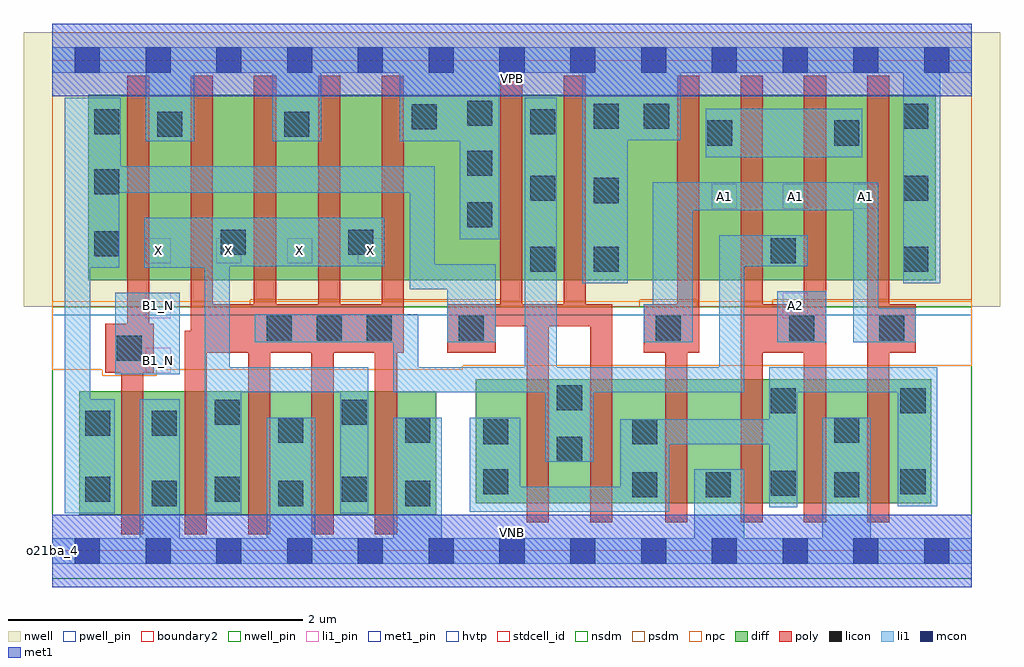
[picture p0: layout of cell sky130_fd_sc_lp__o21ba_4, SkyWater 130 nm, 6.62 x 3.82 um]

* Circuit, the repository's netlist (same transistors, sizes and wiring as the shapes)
* Copyright 2020 The SkyWater PDK Authors
*
* Licensed under the Apache License, Version 2.0 (the "License");
* you may not use this file except in compliance with the License.
* You may obtain a copy of the License at
*
*     https://www.apache.org/licenses/LICENSE-2.0
*
* Unless required by applicable law or agreed to in writing, software
* distributed under the License is distributed on an "AS IS" BASIS,
* WITHOUT WARRANTIES OR CONDITIONS OF ANY KIND, either express or implied.
* See the License for the specific language governing permissions and
* limitations under the License.
*
* SPDX-License-Identifier: Apache-2.0

.SUBCKT sky130_fd_sc_lp__o21ba_4 A1 A2 B1_N VGND VNB VPB VPWR X
*.PININFO A1:I A2:I B1_N:I VGND:I VNB:I VPB:I VPWR:I X:O
MMPA0 VPWR A1 sndA1 VPB sky130_fd_pr__pfet_01v8_hvt m=2 w=1.26U l=0.15U mult=1
+ sa=0.265 sb=0.265 sd=0.28 area=0.063 perim=1.14
MMPA1 sndA1 A2 y VPB sky130_fd_pr__pfet_01v8_hvt m=2 w=1.26U l=0.15U mult=1 sa=0.265
+ sb=0.265 sd=0.28 area=0.063 perim=1.14
MMPB0 VPWR B1 y VPB sky130_fd_pr__pfet_01v8_hvt m=2 w=1.26U l=0.15U mult=1 sa=0.265
+ sb=0.265 sd=0.28 area=0.063 perim=1.14
MMIPB1N B1 B1_N VPWR VPB sky130_fd_pr__pfet_01v8_hvt m=1 w=1.26U l=0.15U mult=1
+ sa=0.265 sb=0.265 sd=0.28 area=0.063 perim=1.14
MMIPX X y VPWR VPB sky130_fd_pr__pfet_01v8_hvt m=4 w=1.26U l=0.15U mult=1 sa=0.265
+ sb=0.265 sd=0.28 area=0.063 perim=1.14
MMNA0 pndA A1 VGND VNB sky130_fd_pr__nfet_01v8 m=2 w=0.84U l=0.15U mult=1 sa=0.265
+ sb=0.265 sd=0.28 area=0.063 perim=1.14
MMNA1 pndA A2 VGND VNB sky130_fd_pr__nfet_01v8 m=2 w=0.84U l=0.15U mult=1 sa=0.265
+ sb=0.265 sd=0.28 area=0.063 perim=1.14
MMNB0 y B1 pndA VNB sky130_fd_pr__nfet_01v8 m=2 w=0.84U l=0.15U mult=1 sa=0.265
+ sb=0.265 sd=0.28 area=0.063 perim=1.14
MMINB1N B1 B1_N VGND VNB sky130_fd_pr__nfet_01v8 m=1 w=0.84U l=0.15U mult=1 sa=0.265
+ sb=0.265 sd=0.28 area=0.063 perim=1.14
MMINX X y VGND VNB sky130_fd_pr__nfet_01v8 m=4 w=0.84U l=0.15U mult=1 sa=0.265
+ sb=0.265 sd=0.28 area=0.063 perim=1.14
.ENDS sky130_fd_sc_lp__o21ba_4

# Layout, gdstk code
import gdstk
lib = gdstk.Library(unit=1e-6, precision=1e-09)
def R(c, l, rs):  # rectangles x0, y0, x1, y1
    for r in rs: c.add(gdstk.rectangle(r[:2], r[2:], *l))
def A(c, l, x, y, w, h, nx, ny, dx, dy):  # array of equal rectangles
    R(c, l, [(x+i*dx, y+j*dy, x+i*dx+w, y+j*dy+h) for i in range(nx) for j in range(ny)])
def P(c, l, *ps):  # polygons
    for p in ps: c.add(gdstk.Polygon(p, *l))
nwell_pin = (64, 16)
nwell = (64, 20)
diff = (65, 20)
poly = (66, 20)
licon = (66, 44)
li1_pin = (67, 16)
li1 = (67, 20)
mcon = (67, 44)
met1_pin = (68, 16)
met1 = (68, 20)
hvtp = (78, 44)
stdcell_id = (81, 4)
nsdm = (93, 44)
psdm = (94, 20)
npc = (95, 20)
pwell_pin = (122, 16)
boundary2 = (236, 0)

sky130_fd_sc_lp__o21ba_4 = lib.new_cell('sky130_fd_sc_lp__o21ba_4')
R(sky130_fd_sc_lp__o21ba_4, nwell_pin, [(0,3.085,6.24,3.33)])
R(sky130_fd_sc_lp__o21ba_4, nwell, [(-0.19,1.655,6.43,3.52)])
R(sky130_fd_sc_lp__o21ba_4, diff, [(0.185,0.245,2.605,1.085), (2.875,0.325,5.965,1.165), (0.245,1.835,5.995,3.095)])
P(sky130_fd_sc_lp__o21ba_4, poly, [(0.69,1.54),(0.66,1.54),(0.66,3.225),(0.51,3.225),(0.51,1.54),(0.36,1.54),(0.36,1.21),(0.47,1.21),(0.47,0.115),(0.62,0.115),(0.62,1.21),(0.69,1.21)],
  [(2.385,3.225),(2.235,3.225),(2.235,1.675),(1.955,1.675),(1.955,3.225),(1.805,3.225),(1.805,1.675),(1.52,1.675),(1.52,3.225),(1.37,3.225),(1.37,1.675),(1.09,1.675),(1.09,3.225),(0.94,3.225),(0.94,1.495),(0.9,1.495),(0.9,0.115),(1.05,0.115),(1.05,1.345),(1.33,1.345),(1.33,0.115),(1.48,0.115),(1.48,1.345),(1.76,1.345),(1.76,0.115),(1.91,0.115),(1.91,1.345),(2.19,1.345),(2.19,0.115),(2.34,0.115),(2.34,1.345),(2.385,1.345)],
  [(3.8,1.675),(3.62,1.675),(3.62,3.225),(3.47,3.225),(3.47,1.675),(3.19,1.675),(3.19,3.225),(3.04,3.225),(3.04,1.675),(2.68,1.675),(2.68,1.345),(3.01,1.345),(3.01,1.525),(3.22,1.525),(3.22,0.195),(3.37,0.195),(3.37,1.525),(3.65,1.525),(3.65,0.195),(3.8,0.195)],
  [(4.39,3.225),(4.24,3.225),(4.24,1.675),(4.015,1.675),(4.015,1.345),(4.16,1.345),(4.16,0.195),(4.31,0.195),(4.31,1.345),(4.39,1.345)],
  [(5.25,3.225),(5.1,3.225),(5.1,1.675),(4.82,1.675),(4.82,3.225),(4.67,3.225),(4.67,0.195),(4.82,0.195),(4.82,1.345),(5.1,1.345),(5.1,0.195),(5.25,0.195)],
  [(5.86,1.675),(5.68,1.675),(5.68,3.225),(5.53,3.225),(5.53,0.195),(5.68,0.195),(5.68,1.345),(5.86,1.345)])
A(sky130_fd_sc_lp__o21ba_4, licon, 0.675, 0.305, 0.17, 0.17, 3, 1, 0.86, 0)
A(sky130_fd_sc_lp__o21ba_4, licon, 1.455, 1.425, 0.17, 0.17, 3, 1, 0.34, 0)
R(sky130_fd_sc_lp__o21ba_4, licon, [(0.225,0.335,0.395,0.505), (1.105,0.335,1.275,0.505), (1.965,0.335,2.135,0.505), (3.935,0.365,4.105,0.535), (4.435,0.365,4.605,0.535), (5.305,0.365,5.475,0.535), (4.875,0.375,5.045,0.545), (2.925,0.385,3.095,0.555), (5.755,0.385,5.925,0.555), (3.425,0.605,3.595,0.775), (2.925,0.725,3.095,0.895), (3.935,0.725,4.105,0.895), (1.535,0.735,1.705,0.905), (2.395,0.735,2.565,0.905), (5.305,0.735,5.475,0.905), (0.225,0.78,0.395,0.95), (0.675,0.78,0.845,0.95), (1.105,0.855,1.275,1.025), (1.965,0.855,2.135,1.025), (4.875,0.935,5.045,1.105), (5.755,0.935,5.925,1.105), (3.425,0.955,3.595,1.125), (0.44,1.29,0.61,1.46), (2.76,1.425,2.93,1.595), (4.095,1.425,4.265,1.595), (5,1.425,5.17,1.595), (5.61,1.425,5.78,1.595), (3.245,1.895,3.415,2.065), (3.675,1.895,3.845,2.065), (5.775,1.895,5.945,2.065), (4.875,1.95,5.045,2.12), (0.285,2,0.455,2.17), (1.145,2.01,1.315,2.18), (2.01,2.01,2.18,2.18), (2.815,2.195,2.985,2.365), (3.675,2.36,3.845,2.53), (3.245,2.375,3.415,2.545), (5.775,2.375,5.945,2.545), (0.285,2.42,0.455,2.59), (2.815,2.545,2.985,2.715), (4.445,2.75,4.615,2.92), (5.305,2.75,5.475,2.92), (0.715,2.81,0.885,2.98), (1.575,2.81,1.745,2.98), (0.285,2.825,0.455,2.995), (3.245,2.825,3.415,2.995), (2.44,2.86,2.61,3.03), (3.675,2.865,3.845,3.035), (4.015,2.865,4.185,3.035), (5.775,2.865,5.945,3.035), (2.815,2.885,2.985,3.055)])
A(sky130_fd_sc_lp__o21ba_4, li1_pin, 0.635, 1.95, 0.17, 0.17, 4, 1, 0.48, 0)
A(sky130_fd_sc_lp__o21ba_4, li1_pin, 4.475, 2.32, 0.17, 0.17, 3, 1, 0.48, 0)
R(sky130_fd_sc_lp__o21ba_4, li1_pin, [(0.635,1.21,0.805,1.38), (0.635,1.58,0.805,1.75), (4.955,1.58,5.125,1.75)])
R(sky130_fd_sc_lp__o21ba_4, li1, [(0.43,1.2,0.865,1.75), (4.92,1.415,5.25,1.76), (4.435,2.67,5.495,3)])
P(sky130_fd_sc_lp__o21ba_4, li1, [(2.255,2.26),(0.625,2.26),(0.625,1.92),(1.035,1.92),(1.035,0.255),(1.285,0.255),(1.285,1.075),(1.955,1.075),(1.955,0.255),(2.145,0.255),(2.145,1.245),(1.205,1.245),(1.205,1.93),(2.255,1.93)],
  [(3.01,1.945),(2.595,1.945),(2.595,2.61),(0.465,2.61),(0.465,3.075),(0.085,3.075),(0.085,0.255),(0.425,0.255),(0.425,1.03),(0.26,1.03),(0.26,1.92),(0.455,1.92),(0.455,2.43),(2.425,2.43),(2.425,1.775),(2.68,1.775),(2.68,1.415),(3.01,1.415)],
  [(5.125,2.14),(4.525,2.14),(4.525,1.245),(3.425,1.245),(3.425,3.075),(3.205,3.075),(3.205,1.245),(2.485,1.245),(2.485,1.605),(1.375,1.605),(1.375,1.415),(2.315,1.415),(2.315,1.075),(3.345,1.075),(3.345,0.605),(3.675,0.605),(3.675,1.075),(4.695,1.075),(4.695,1.93),(5.125,1.93)],
  [(5.86,1.645),(5.605,1.645),(5.605,2.5),(4.075,2.5),(4.075,1.675),(4.015,1.675),(4.015,1.415),(4.345,1.415),(4.345,2.31),(5.435,2.31),(5.435,1.415),(5.86,1.415)],
  [(6.24,0.085),(5.555,0.085),(5.555,0.905),(5.225,0.905),(5.225,0.085),(4.695,0.085),(4.695,0.555),(4.355,0.555),(4.355,0.085),(2.645,0.085),(2.645,0.905),(2.315,0.905),(2.315,0.085),(1.785,0.085),(1.785,0.905),(1.455,0.905),(1.455,0.085),(0.865,0.085),(0.865,1.03),(0.595,1.03),(0.595,0.085),(0,0.085),(0,-0.085),(6.24,-0.085)],
  [(6.005,1.245),(4.865,1.245),(4.865,0.895),(3.855,0.895),(3.855,0.435),(3.175,0.435),(3.175,0.905),(2.835,0.905),(2.835,0.265),(4.185,0.265),(4.185,0.725),(4.865,0.725),(4.865,0.295),(5.055,0.295),(5.055,1.075),(5.735,1.075),(5.735,0.305),(6.005,0.305)],
  [(6.24,3.415),(0,3.415),(0,3.245),(0.635,3.245),(0.635,2.78),(0.965,2.78),(0.965,3.245),(1.495,3.245),(1.495,2.78),(1.825,2.78),(1.825,3.245),(2.36,3.245),(2.36,2.78),(2.765,2.78),(2.765,2.115),(3.035,2.115),(3.035,3.245),(3.595,3.245),(3.595,1.815),(3.905,1.815),(3.905,2.785),(4.265,2.785),(4.265,3.245),(5.775,3.245),(5.775,1.815),(6.025,1.815),(6.025,3.245),(6.24,3.245)])
A(sky130_fd_sc_lp__o21ba_4, mcon, 0.155, -0.085, 0.17, 0.17, 13, 2, 0.48, 3.33)
R(sky130_fd_sc_lp__o21ba_4, met1_pin, [(0,0,6.24,0.245), (0,3.085,6.24,3.33)])
R(sky130_fd_sc_lp__o21ba_4, met1, [(0,-0.245,6.24,0.245), (0,3.085,6.24,3.575)])
R(sky130_fd_sc_lp__o21ba_4, hvtp, [(0,1.6,6.24,3.33)])
R(sky130_fd_sc_lp__o21ba_4, stdcell_id, [(0,0,6.24,3.33)])
R(sky130_fd_sc_lp__o21ba_4, nsdm, [(0,-0.19,6.24,1.655)])
P(sky130_fd_sc_lp__o21ba_4, psdm, [(6.24,3.52),(0,3.52),(0,1.655),(1.345,1.655),(1.345,1.705),(3.04,1.705),(3.04,1.655),(3.985,1.655),(3.985,1.705),(4.375,1.705),(4.375,1.655),(4.89,1.655),(4.89,1.705),(6.24,1.705)])
P(sky130_fd_sc_lp__o21ba_4, npc, [(6.24,1.695),(0,1.695),(0,1.23),(0.34,1.23),(0.34,1.19),(0.71,1.19),(0.71,1.23),(2.785,1.23),(2.785,1.255),(6.24,1.255)])
R(sky130_fd_sc_lp__o21ba_4, pwell_pin, [(0,0,6.24,0.245)])
R(sky130_fd_sc_lp__o21ba_4, boundary2, [(0,0,6.24,3.33)])
sky130_fd_sc_lp__o21ba_4.add(gdstk.Label('VNB', (3.12,0.123), layer=64, texttype=59))
sky130_fd_sc_lp__o21ba_4.add(gdstk.Label('VPB', (3.12,3.208), layer=64, texttype=5))
sky130_fd_sc_lp__o21ba_4.add(gdstk.Label('o21ba_4', (0,0), layer=83, texttype=44))
sky130_fd_sc_lp__o21ba_4.add(gdstk.Label('VPWR', (3.12,3.208), layer=68, texttype=5))
sky130_fd_sc_lp__o21ba_4.add(gdstk.Label('VGND', (3.12,0.123), layer=68, texttype=5))
sky130_fd_sc_lp__o21ba_4.add(gdstk.Label('X', (0.72,2.035), layer=67, texttype=5))
sky130_fd_sc_lp__o21ba_4.add(gdstk.Label('X', (1.2,2.035), layer=67, texttype=5))
sky130_fd_sc_lp__o21ba_4.add(gdstk.Label('X', (1.68,2.035), layer=67, texttype=5))
sky130_fd_sc_lp__o21ba_4.add(gdstk.Label('X', (2.16,2.035), layer=67, texttype=5))
sky130_fd_sc_lp__o21ba_4.add(gdstk.Label('A1', (4.56,2.405), layer=67, texttype=5))
sky130_fd_sc_lp__o21ba_4.add(gdstk.Label('A1', (5.04,2.405), layer=67, texttype=5))
sky130_fd_sc_lp__o21ba_4.add(gdstk.Label('A1', (5.52,2.405), layer=67, texttype=5))
sky130_fd_sc_lp__o21ba_4.add(gdstk.Label('A2', (5.04,1.665), layer=67, texttype=5))
sky130_fd_sc_lp__o21ba_4.add(gdstk.Label('B1_N', (0.72,1.295), layer=67, texttype=5))
sky130_fd_sc_lp__o21ba_4.add(gdstk.Label('B1_N', (0.72,1.665), layer=67, texttype=5))

lib.write_gds('sky130_fd_sc_lp__o21ba_4.gds')
